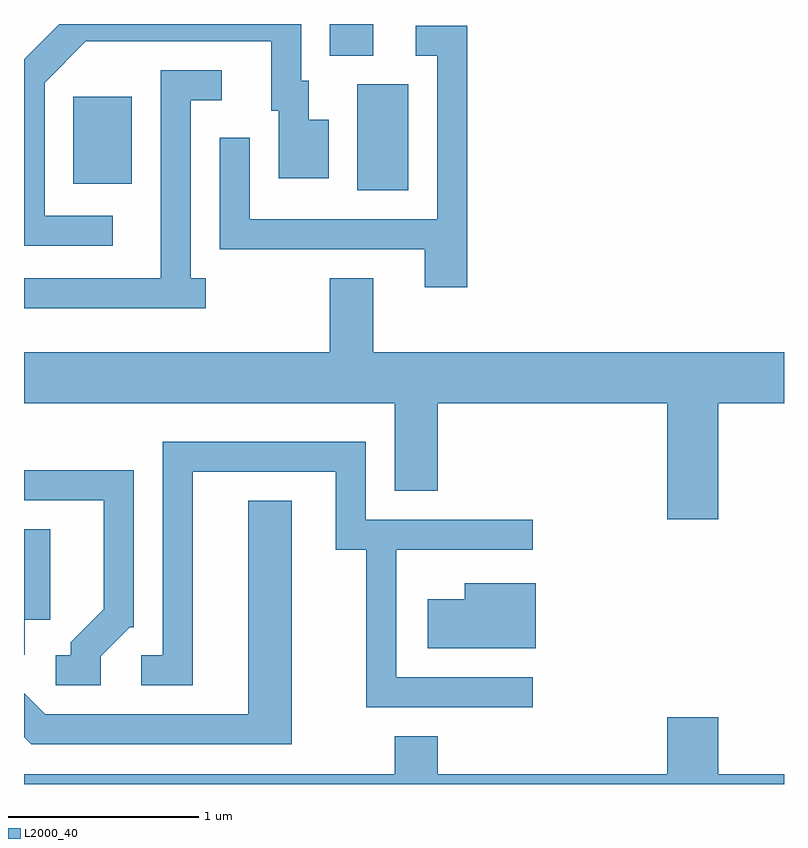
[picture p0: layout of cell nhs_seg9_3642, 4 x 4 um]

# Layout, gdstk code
import gdstk
lib = gdstk.Library(unit=1e-6, precision=1e-09)
def R(c, l, rs):  # rectangles x0, y0, x1, y1
    for r in rs: c.add(gdstk.rectangle(r[:2], r[2:], *l))
def P(c, l, *ps):  # polygons
    for p in ps: c.add(gdstk.Polygon(p, *l))
L2000_40 = (2000, 40)

nhs_seg9_3642 = lib.new_cell('nhs_seg9_3642')
R(nhs_seg9_3642, L2000_40, [(293.366,2039.556,293.634,2040.114), (291.871,2039.591,292.179,2040.049), (293.221,2040.266,293.449,2040.432)])
P(nhs_seg9_3642, L2000_40, [(292.078,2039.424),(291.719,2039.424),(291.719,2040.124),(291.937,2040.341),(292.911,2040.341),(292.911,2039.976),(292.951,2039.976),(292.951,2039.621),(293.214,2039.621),(293.214,2039.929),(293.109,2039.929),(293.109,2040.134),(293.069,2040.134),(293.069,2040.432),(291.797,2040.432),(291.611,2040.247),(291.611,2039.266),(292.078,2039.266)],
  [(293.944,2040.424),(293.673,2040.424),(293.673,2040.266),(293.786,2040.266),(293.786,2039.404),(292.799,2039.404),(292.799,2039.833),(292.641,2039.833),(292.641,2039.246),(293.721,2039.246),(293.721,2039.046),(293.944,2039.046)],
  [(292.568,2039.094),(292.489,2039.094),(292.489,2040.031),(292.653,2040.031),(292.653,2040.189),(292.331,2040.189),(292.331,2039.094),(291.611,2039.094),(291.611,2038.936),(292.568,2038.936)],
  [(295.264,2038.436),(295.611,2038.436),(295.611,2038.704),(293.449,2038.704),(293.449,2039.094),(293.221,2039.094),(293.221,2038.704),(291.611,2038.704),(291.611,2038.436),(293.561,2038.436),(293.561,2037.976),(293.789,2037.976),(293.789,2038.436),(294.996,2038.436),(294.996,2037.826),(295.264,2037.826)],
  [(294.288,2036.994),(293.569,2036.994),(293.569,2037.666),(294.288,2037.666),(294.288,2037.824),(293.409,2037.824),(293.409,2038.234),(292.341,2038.234),(292.341,2037.109),(292.228,2037.109),(292.228,2036.951),(292.499,2036.951),(292.499,2038.076),(293.251,2038.076),(293.251,2037.666),(293.411,2037.666),(293.411,2036.836),(294.288,2036.836)],
  [(292.014,2037.104),(292.167,2037.256),(292.189,2037.256),(292.189,2038.084),(291.611,2038.084),(291.611,2037.926),(292.031,2037.926),(292.031,2037.352),(291.856,2037.177),(291.856,2037.109),(291.778,2037.109),(291.778,2036.951),(292.014,2036.951)],
  [(293.019,2037.924),(292.791,2037.924),(292.791,2036.799),(291.722,2036.799),(291.611,2036.91),(291.611,2036.679),(291.649,2036.641),(293.019,2036.641)],
  [(291.614,2037.296),(291.749,2037.296),(291.749,2037.774),(291.611,2037.774),(291.611,2037.111),(291.614,2037.111)],
  [(294.304,2037.489),(293.931,2037.489),(293.931,2037.404),(293.736,2037.404),(293.736,2037.146),(294.304,2037.146)],
  [(295.611,2036.484),(295.264,2036.484),(295.264,2036.784),(294.996,2036.784),(294.996,2036.484),(293.789,2036.484),(293.789,2036.684),(293.561,2036.684),(293.561,2036.484),(291.611,2036.484),(291.611,2036.432),(295.611,2036.432)])

lib.write_gds('nhs_seg9_3642.gds')
